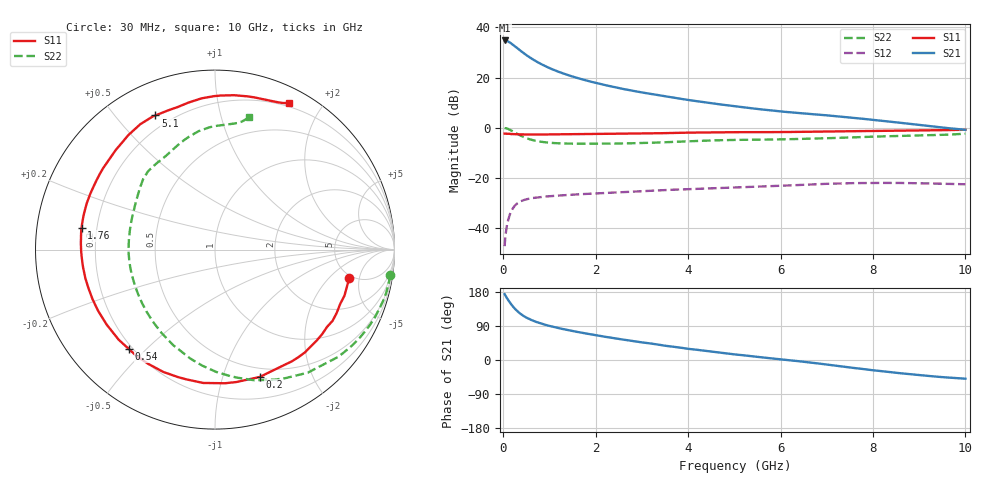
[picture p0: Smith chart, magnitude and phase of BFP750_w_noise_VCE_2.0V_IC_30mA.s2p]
! Infineon Technologies  Discrete & RF Semiconductors
! BFP750
! VCE =  2.0 V,  IC =  30 mA
! Common Emitter S-Parameters:  Jan 2016
# GHz  S  MA  R  50
!  f  S11  S21  S12  S22
! GHz  MAG  ANG  MAG  ANG  MAG  ANG  MAG  ANG
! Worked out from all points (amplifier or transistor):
!   229 points, 30 MHz to 10 GHz, reference 50 ohm
!   highest |S21| = 34.8 dB at 30 MHz (marker M1)
!   |S21| within 3 dB of that: start of sweep to 301.2 MHz
!   unconditionally stable (mu >= 1): 4.533 GHz to end of sweep
!   at 280 MHz: K = 0.13, MSG = 31.3 dB, |S12| = -30.5 dB
!   at 1.78 GHz: K = 0.60, MSG = 22.6 dB, |S12| = -26.3 dB
!   at 10 GHz: K = 1.07, MAG = 9.2 dB, |S12| = -22.5 dB
!   lowest NFmin = 0.84 dB at 450 MHz
!   S11 on the Smith chart (normalised r, x): 30 MHz: 4.74, -3.57; 200 MHz: 0.41, -1.33; 540 MHz: 0.19, -0.45; 1.76 GHz: 0.14, +0.08; 5.1 GHz: 0.14, +0.64; 10 GHz: 0.16, +1.61
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0.03  0.7647 -11.8  54.73 173.8  0.0044 84.2  0.9869 -8.3
0.05  0.7657 -19.6  54.68 169.2  0.0074 82.9  0.9839 -14.1
0.08  0.7658 -31.2  53.62 163.6  0.0113 75.6  0.9679 -22.7
0.12  0.7588 -45.3  51.3 155.8  0.0163 68.9  0.9371 -33.5
0.15  0.7556 -55.4  49.49 150.5  0.0196 64.1  0.9092 -41.2
0.2  0.752 -70.7  45.86 142.3  0.0243 57.2  0.8587 -53.0
0.26  0.7467 -85.7  41.55 134.3  0.0287 50.2  0.797 -65.4
0.3  0.7459 -95.0  38.82 129.3  0.031 46.4  0.7605 -73.2
0.36  0.7396 -106.2  35.01 123.2  0.0336 41.6  0.7097 -83.2
0.45  0.7373 -120.2  30.23 115.5  0.0366 35.9  0.6498 -96.4
0.54  0.733 -130.7  26.43 109.7  0.0384 31.9  0.6033 -106.9
0.7  0.7342 -145.3  21.27 101.1  0.0408 26.7  0.551 -122.9
0.96  0.7361 -161.1  16.05 91.3  0.0431 22.2  0.5079 -141.2
1.3  0.7435 -175.4  12.03 81.4  0.0454 18.9  0.4873 -157.8
1.7  0.7524 172.3  9.248 72.0  0.0478 16.6  0.4818 -171.7
1.76  0.7532 170.7  8.93 70.7  0.0482 16.3  0.4814 -173.4
2.42  0.7615 155.3  6.4 57.1  0.0517 13.4  0.4849 169.4
3.4  0.7792 136.8  4.379 39.7  0.0571 9.4  0.5107 150.5
5.1  0.818 114.0  2.622 13.7  0.0653 1.9  0.575 129.2
6.8  0.8397 97.1  1.83 -8.9  0.0753 -7.7  0.6124 110.8
8.4  0.8726 78.1  1.313 -32.4  0.0799 -21.5  0.6818 92.7
10  0.9135 63.2  0.911 -49.3  0.0751 -32.2  0.7612 75.4
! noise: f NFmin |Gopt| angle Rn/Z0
0.45  0.84  0.12  -165  0.43
0.9  0.86  0.17  -162  0.16
1.5  0.87  0.18  -161  0.13
1.9  0.88  0.22  -155  0.08
2.4  0.91  0.26  -148  0.08
3.5  1.14  0.3  -134  0.08
